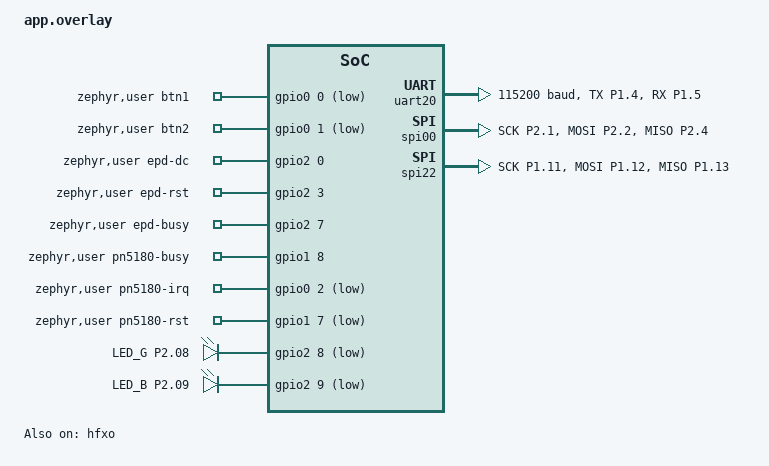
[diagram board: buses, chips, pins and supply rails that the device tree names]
/*
 * eink_tag — 硬件接线 rev_b（LFCLK=内部 RC；HFCLK=外部 32 MHz HFXO；BLE 开）
 *
 * 自有 PCB 脚表；勿烧到现网冒烟板（rev_a）。
 * 整表见 doc/board_io_rev_b.md
 *
 * UART20: TX=P1.04  RX=P1.05  @ 115200
 * LED_G:  P2.08   LED_B: P2.09  (ACTIVE_LOW)
 * BTN1:   P0.00   BTN2:  P0.01  (ACTIVE_LOW)
 * EPD SPI00: SCK=P2.01  MOSI=P2.02  MISO=P2.04  CS=P2.05
 * EPD GPIO:  DC=P2.00   RST=P2.03   BUSY=P2.07
 * PN5180 SPI22: SCK=P1.11 MOSI=P1.12 MISO=P1.13 NSS=P1.14
 * PN5180 GPIO:  IRQ=P0.02 BUSY=P1.08 RST=P1.07（常供电，无 PWR_ON）
 * ADC:    P1.06 AIN2（预留；本阶段不挂业务）
 * HFXO:   外部 32 MHz；片内负载 15 pF
 * P1.00/01：预留 LFXO（默认 NC）；P1.02/03：原 NFCT，仅数字备用
 */

#include <zephyr/dt-bindings/gpio/gpio.h>
#include <zephyr/dt-bindings/pinctrl/nrf-pinctrl.h>

&pinctrl {
	uart20_default: uart20_default {
		group1 {
			psels = <NRF_PSEL(UART_TX, 1, 4)>;
		};
		group2 {
			psels = <NRF_PSEL(UART_RX, 1, 5)>;
			bias-pull-up;
		};
	};

	uart20_sleep: uart20_sleep {
		group1 {
			psels = <NRF_PSEL(UART_TX, 1, 4)>,
				<NRF_PSEL(UART_RX, 1, 5)>;
			low-power-enable;
		};
	};

	/* EPD：SCK=P2.01 MOSI=P2.02 MISO=P2.04。bitbang 时会 sleep 掉本组 */
	spi00_default: spi00_default {
		group1 {
			psels = <NRF_PSEL(SPIM_SCK, 2, 1)>,
				<NRF_PSEL(SPIM_MOSI, 2, 2)>,
				<NRF_PSEL(SPIM_MISO, 2, 4)>;
			nordic,drive-mode = <NRF_DRIVE_E0E1>;
		};
	};

	spi00_sleep: spi00_sleep {
		group1 {
			psels = <NRF_PSEL(SPIM_SCK, 2, 1)>,
				<NRF_PSEL(SPIM_MOSI, 2, 2)>,
				<NRF_PSEL(SPIM_MISO, 2, 4)>;
			low-power-enable;
		};
	};

	/* PN5180：SCK 必须为 P1 clock pin（P1.11） */
	spi22_default: spi22_default {
		group1 {
			psels = <NRF_PSEL(SPIM_SCK, 1, 11)>,
				<NRF_PSEL(SPIM_MOSI, 1, 12)>,
				<NRF_PSEL(SPIM_MISO, 1, 13)>;
		};
	};

	spi22_sleep: spi22_sleep {
		group1 {
			psels = <NRF_PSEL(SPIM_SCK, 1, 11)>,
				<NRF_PSEL(SPIM_MOSI, 1, 12)>,
				<NRF_PSEL(SPIM_MISO, 1, 13)>;
			low-power-enable;
		};
	};
};

&uart20 {
	status = "okay";
	current-speed = <115200>;
	pinctrl-0 = <&uart20_default>;
	pinctrl-1 = <&uart20_sleep>;
	pinctrl-names = "default", "sleep";
};

/* EPD：CS=P2.05；关掉 DK 板载 MX25 NOR */
&spi00 {
	status = "okay";
	cs-gpios = <&gpio2 5 GPIO_ACTIVE_LOW>;
	pinctrl-0 = <&spi00_default>;
	pinctrl-1 = <&spi00_sleep>;
	pinctrl-names = "default", "sleep";
};

&spi22 {
	status = "okay";
	cs-gpios = <&gpio1 14 GPIO_ACTIVE_LOW>;
	pinctrl-0 = <&spi22_default>;
	pinctrl-1 = <&spi22_sleep>;
	pinctrl-names = "default", "sleep";
};

&mx25r64 {
	status = "disabled";
};

/* DK 默认外设：自有板脚已重排，关掉易冲突节点 */
&pwm20 {
	status = "disabled";
};

&pwm_led1 {
	status = "disabled";
};

&button1 {
	status = "disabled";
};

/* led_scene：index0=R→LED_G，index1=B→LED_B */
&led0 {
	gpios = <&gpio2 8 GPIO_ACTIVE_LOW>;
	label = "LED_G P2.08";
};

&led1 {
	gpios = <&gpio2 9 GPIO_ACTIVE_LOW>;
	label = "LED_B P2.09";
};

&led2 {
	status = "disabled";
};

&led3 {
	status = "disabled";
};

/* 本工程不用片上 NFCT Tag；读卡只走外挂 PN5180 */
&nfct {
	status = "disabled";
};

/* 外部 32 MHz HFXO；片内负载 15 pF；CONFIG_START_REQUEST_HFXO=y 强起 */
&hfxo {
	status = "okay";
	load-capacitors = "internal";
	/* 自制板无外挂电容：15pF 常温难起 → 17pF（与 zigbee_demo 对齐） */
	load-capacitance-femtofarad = <17000>;
};

&gpio0 {
	status = "okay";
};

&gpio1 {
	status = "okay";
};

&gpio2 {
	status = "okay";
};

/ {
	zephyr,user {
		/* 与 demo 一致：ACTIVE_LOW + 内部上拉；无上拉时浮空易误触双击→冷重启 */
		btn1-gpios = <&gpio0 0 (GPIO_ACTIVE_LOW | GPIO_PULL_UP)>;
		btn2-gpios = <&gpio0 1 (GPIO_ACTIVE_LOW | GPIO_PULL_UP)>;

		epd-dc-gpios = <&gpio2 0 GPIO_ACTIVE_HIGH>;
		epd-rst-gpios = <&gpio2 3 GPIO_ACTIVE_HIGH>;
		epd-busy-gpios = <&gpio2 7 (GPIO_ACTIVE_HIGH | GPIO_PULL_UP)>;

		/* PN5180 GPIO 仅 DT 登记；IRQ/BUSY 业务阶段再挂 */
		pn5180-busy-gpios = <&gpio1 8 (GPIO_ACTIVE_HIGH | GPIO_PULL_UP)>;
		pn5180-irq-gpios = <&gpio0 2 GPIO_ACTIVE_LOW>;
		pn5180-rst-gpios = <&gpio1 7 GPIO_ACTIVE_LOW>;
	};
};
